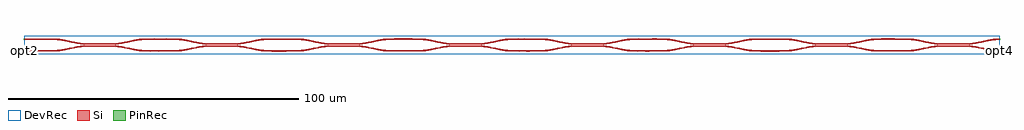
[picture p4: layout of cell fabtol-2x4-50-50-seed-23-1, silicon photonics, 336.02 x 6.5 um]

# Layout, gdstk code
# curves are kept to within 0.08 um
import gdstk
lib = gdstk.Library(unit=1e-6, precision=1e-09)
def R(c, l, rs):  # rectangles x0, y0, x1, y1
    for r in rs: c.add(gdstk.rectangle(r[:2], r[2:], *l))
def P(c, l, *ps):  # polygons
    for p in ps: c.add(gdstk.Polygon(p, *l))
Si = (1, 0)
PinRec = (1, 10)
DevRec = (68, 0)

layer_3_0_phase_sec_1_10 = lib.new_cell('layer-3_0_phase_sec_1$10')
P(layer_3_0_phase_sec_1_10, Si, [(3.181,-0.248),(0,-0.225),(0,0.225),(10,0.225),(10,-0.225)])

layer_3_0_phase_sec_0_10 = lib.new_cell('layer-3_0_phase_sec_0$10')
P(layer_3_0_phase_sec_0_10, Si, [(2.629,-0.23),(0,-0.225),(0,0.225),(10,0.225),(10,-0.225)])

layer_0_0_phase_sec_0_10 = lib.new_cell('layer-0_0_phase_sec_0$10')
P(layer_0_0_phase_sec_0_10, Si, [(4.426,-0.229),(0,-0.225),(0,0.225),(10,0.225),(10,-0.225)])

layer_0_0_phase_sec_1_10 = lib.new_cell('layer-0_0_phase_sec_1$10')
P(layer_0_0_phase_sec_1_10, Si, [(4.438,-0.23),(0,-0.225),(0,0.225),(10,0.225),(10,-0.225)])

dc_arm_down_10 = lib.new_cell('dc_arm_down$10')
R(dc_arm_down_10, Si, [(12,-0.55,20,-0.1)])
P(dc_arm_down_10, Si, [(32,-2.225),(30.861,-2.188),(29.344,-2.033),(22.966,-0.793),(21.481,-0.613),(20,-0.55),(20,-0.1),(21.139,-0.137),(22.656,-0.292),(29.034,-1.532),(30.519,-1.712),(32,-1.775)],
  [(0,-2.225),(0,-1.775),(1.481,-1.712),(2.966,-1.532),(9.344,-0.292),(10.861,-0.137),(12,-0.1),(12,-0.55),(10.519,-0.613),(9.034,-0.793),(2.656,-2.033),(1.139,-2.188)])

dc_arm_up_10 = lib.new_cell('dc_arm_up$10')
R(dc_arm_up_10, Si, [(12,0.1,20,0.55)])
P(dc_arm_up_10, Si, [(20,0.1),(20,0.55),(21.481,0.613),(22.966,0.793),(29.344,2.033),(30.861,2.188),(32,2.225),(32,1.775),(30.519,1.712),(29.034,1.532),(22.656,0.292),(21.139,0.137)],
  [(12,0.1),(10.861,0.137),(9.344,0.292),(2.966,1.532),(1.481,1.712),(0,1.775),(0,2.225),(1.139,2.188),(2.656,2.033),(9.034,0.793),(10.519,0.613),(12,0.55)])

dc_10 = lib.new_cell('dc$10')
dc_10.add(gdstk.Reference(dc_arm_down_10, (0,0)))
dc_10.add(gdstk.Reference(dc_arm_up_10, (0,0)))

layer_0_0_phase_sec_2_10 = lib.new_cell('layer-0_0_phase_sec_2$10')
P(layer_0_0_phase_sec_2_10, Si, [(6.998,-0.241),(0,-0.225),(0,0.225),(10,0.225),(10,-0.225)])

layer_1_0_phase_sec_3_10 = lib.new_cell('layer-1_0_phase_sec_3$10')
P(layer_1_0_phase_sec_3_10, Si, [(0,-0.225),(0,0.225),(10,0.225),(10,-0.225)])

layer_0_0_phase_sec_3_10 = lib.new_cell('layer-0_0_phase_sec_3$10')
P(layer_0_0_phase_sec_3_10, Si, [(1.451,-0.238),(0,-0.225),(0,0.225),(10,0.225),(10,-0.225)])

layer_1_0_phase_sec_0_10 = lib.new_cell('layer-1_0_phase_sec_0$10')
P(layer_1_0_phase_sec_0_10, Si, [(1.297,-0.236),(0,-0.225),(0,0.225),(10,0.225),(10,-0.225)])

layer_3_0_phase_sec_2_10 = lib.new_cell('layer-3_0_phase_sec_2$10')
P(layer_3_0_phase_sec_2_10, Si, [(2.281,-0.245),(0,-0.225),(0,0.225),(10,0.225),(10,-0.225)])

layer_2_0_phase_sec_1_10 = lib.new_cell('layer-2_0_phase_sec_1$10')
P(layer_2_0_phase_sec_1_10, Si, [(2.476,-0.238),(0,-0.225),(0,0.225),(10,0.225),(10,-0.225)])

layer_1_0_phase_sec_1_10 = lib.new_cell('layer-1_0_phase_sec_1$10')
P(layer_1_0_phase_sec_1_10, Si, [(2.494,-0.242),(0,-0.225),(0,0.225),(10,0.225),(10,-0.225)])

layer_3_0_phase_sec_3_10 = lib.new_cell('layer-3_0_phase_sec_3$10')
P(layer_3_0_phase_sec_3_10, Si, [(3.332,-0.235),(0,-0.225),(0,0.225),(10,0.225),(10,-0.225)])

layer_1_0_phase_sec_2_10 = lib.new_cell('layer-1_0_phase_sec_2$10')
P(layer_1_0_phase_sec_2_10, Si, [(4.595,-0.251),(0,-0.225),(0,0.225),(10,0.225),(10,-0.225)])

layer_2_0_phase_sec_0_10 = lib.new_cell('layer-2_0_phase_sec_0$10')
P(layer_2_0_phase_sec_0_10, Si, [(2.136,-0.241),(0,-0.225),(0,0.225),(10,0.225),(10,-0.225)])

layer_2_0_phase_sec_2_10 = lib.new_cell('layer-2_0_phase_sec_2$10')
P(layer_2_0_phase_sec_2_10, Si, [(6.296,-0.242),(0,-0.225),(0,0.225),(10,0.225),(10,-0.225)])

layer_2_0_phase_sec_3_10 = lib.new_cell('layer-2_0_phase_sec_3$10')
P(layer_2_0_phase_sec_3_10, Si, [(1.32,-0.238),(0,-0.225),(0,0.225),(10,0.225),(10,-0.225)])

fabtol_2x4_50_50_seed_23 = lib.new_cell('fabtol-2x4-50-50-seed-23-1')
R(fabtol_2x4_50_50_seed_23, DevRec, [(0,-1,336,5.499)])
fabtol_2x4_50_50_seed_23.add(gdstk.FlexPath([(335.99,0.248),(336.01,0.248)], 0.45, ends="flush", simple_path=True, layer=1, datatype=10))  # PinRec
fabtol_2x4_50_50_seed_23.add(gdstk.FlexPath([(335.99,4.248),(336.01,4.248)], 0.45, ends="flush", simple_path=True, layer=1, datatype=10))  # PinRec
fabtol_2x4_50_50_seed_23.add(gdstk.FlexPath([(0.01,4.248),(-0.01,4.248)], 0.45, ends="flush", simple_path=True, layer=1, datatype=10))  # PinRec
fabtol_2x4_50_50_seed_23.add(gdstk.Reference(layer_3_0_phase_sec_1_10, (252,0.248)))
fabtol_2x4_50_50_seed_23.add(gdstk.Reference(layer_3_0_phase_sec_0_10, (252,4.248)))
fabtol_2x4_50_50_seed_23.add(gdstk.Reference(layer_0_0_phase_sec_0_10, (0,4.248)))
fabtol_2x4_50_50_seed_23.add(gdstk.Reference(layer_0_0_phase_sec_1_10, (0,0.248)))
fabtol_2x4_50_50_seed_23.add(gdstk.Reference(dc_10, (10,2.248)))
fabtol_2x4_50_50_seed_23.add(gdstk.Reference(dc_10, (52,2.248)))
fabtol_2x4_50_50_seed_23.add(gdstk.Reference(dc_10, (94,2.248)))
fabtol_2x4_50_50_seed_23.add(gdstk.Reference(dc_10, (136,2.248)))
fabtol_2x4_50_50_seed_23.add(gdstk.Reference(dc_10, (178,2.248)))
fabtol_2x4_50_50_seed_23.add(gdstk.Reference(dc_10, (220,2.248)))
fabtol_2x4_50_50_seed_23.add(gdstk.Reference(dc_10, (262,2.248)))
fabtol_2x4_50_50_seed_23.add(gdstk.Reference(dc_10, (304,2.248)))
fabtol_2x4_50_50_seed_23.add(gdstk.Reference(layer_0_0_phase_sec_2_10, (42,4.248)))
fabtol_2x4_50_50_seed_23.add(gdstk.Reference(layer_1_0_phase_sec_3_10, (126,0.248)))
fabtol_2x4_50_50_seed_23.add(gdstk.Reference(layer_0_0_phase_sec_3_10, (42,0.248)))
fabtol_2x4_50_50_seed_23.add(gdstk.Reference(layer_1_0_phase_sec_0_10, (84,4.248)))
fabtol_2x4_50_50_seed_23.add(gdstk.Reference(layer_3_0_phase_sec_2_10, (294,4.248)))
fabtol_2x4_50_50_seed_23.add(gdstk.Reference(layer_2_0_phase_sec_1_10, (168,0.248)))
fabtol_2x4_50_50_seed_23.add(gdstk.Reference(layer_1_0_phase_sec_1_10, (84,0.248)))
fabtol_2x4_50_50_seed_23.add(gdstk.Reference(layer_3_0_phase_sec_3_10, (294,0.248)))
fabtol_2x4_50_50_seed_23.add(gdstk.Reference(layer_1_0_phase_sec_2_10, (126,4.248)))
fabtol_2x4_50_50_seed_23.add(gdstk.Reference(layer_2_0_phase_sec_0_10, (168,4.248)))
fabtol_2x4_50_50_seed_23.add(gdstk.Reference(layer_2_0_phase_sec_2_10, (210,4.248)))
fabtol_2x4_50_50_seed_23.add(gdstk.Reference(layer_2_0_phase_sec_3_10, (210,0.248)))
fabtol_2x4_50_50_seed_23.add(gdstk.Label('opt2', (0,0.248), layer=1, texttype=10))
fabtol_2x4_50_50_seed_23.add(gdstk.Label('opt4', (336,0.248), layer=1, texttype=10))
fabtol_2x4_50_50_seed_23.add(gdstk.Label('opt3', (336,4.248), layer=1, texttype=10))
fabtol_2x4_50_50_seed_23.add(gdstk.Label('opt1', (0,4.248), layer=1, texttype=10))

lib.write_gds('fabtol-2x4-50-50-seed-23-1.gds')
